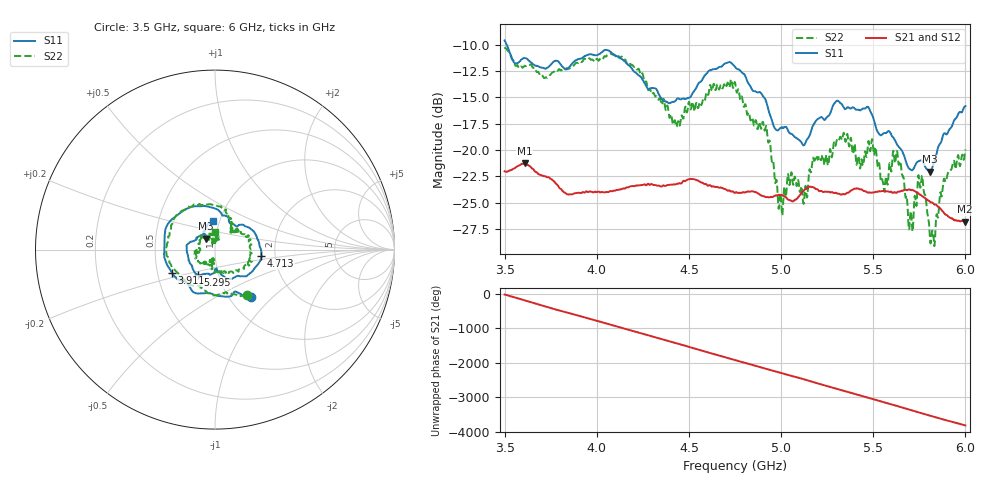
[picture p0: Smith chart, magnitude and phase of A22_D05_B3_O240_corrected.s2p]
! Created with skrf 1.9.0 (http://scikit-rf.org).
# Hz S RI R 50.0
!freq ReS11 ImS11 ReS21 ImS21 ReS12 ImS12 ReS22 ImS22
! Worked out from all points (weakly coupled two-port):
!   1601 points, 3.5 GHz to 6 GHz, reference 50 ohm
!   highest |S21| = -21.28 dB at 3.609 GHz (marker M1); lowest = -26.8 dB at 5.995 GHz (marker M2)
!   lowest |S11| = -22.1 dB at 5.808 GHz (marker M3), VSWR 1.17, Z = 45 + j5.59 ohm
!   |S11| at or under -10 dB: 3.512 GHz to end of sweep
!   |S22| runs from -29.1 to -10.2 dB; largest |S21 - S12| = 0.00091
!   S11 on the Smith chart (normalised r, x): 3.5 GHz: 1.26, -0.75; 3.911 GHz: 0.60, -0.17; 4.713 GHz: 1.69, -0.13; 5.295 GHz: 0.80, -0.23; 6 GHz: 0.93, +0.31
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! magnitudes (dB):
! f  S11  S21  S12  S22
! 3.5 GHz  -9.6  -22.0  -22.0  -10.2
! 3.609 GHz  -11.2  -21.3  -21.3  -12.0
! 3.911 GHz  -11.3  -24.1  -24.0  -11.6
! 3.917 GHz  -11.3  -24.1  -24.0  -11.6
! 4.125 GHz  -11.2  -23.7  -23.7  -11.3
! 4.334 GHz  -14.6  -23.4  -23.3  -15.2
! 4.441 GHz  -15.1  -23.2  -23.2  -17.3
! 4.713 GHz  -11.7  -23.9  -23.8  -13.7
! 4.75 GHz  -12.1  -24.1  -24.0  -13.6
! 4.912 GHz  -15.1  -24.4  -24.4  -18.1
! 4.997 GHz  -17.9  -24.3  -24.2  -24.1
! 5.047 GHz  -18.4  -24.8  -24.8  -23.3
! 5.131 GHz  -19.4  -23.7  -23.7  -23.5
! 5.167 GHz  -17.9  -23.5  -23.5  -21.5
! 5.295 GHz  -15.4  -24.1  -24.0  -19.6
! 5.584 GHz  -18.2  -24.0  -23.9  -22.0
! 5.638 GHz  -19.7  -24.0  -23.9  -21.3
! 5.703 GHz  -21.9  -23.8  -23.8  -25.8
! 5.756 GHz  -21.0  -24.3  -24.2  -23.6
! 5.808 GHz  -22.1  -24.9  -24.9  -28.2
! 5.995 GHz  -15.9  -26.8  -26.7  -20.6
! 6 GHz  -15.8  -26.8  -26.8  -19.9
